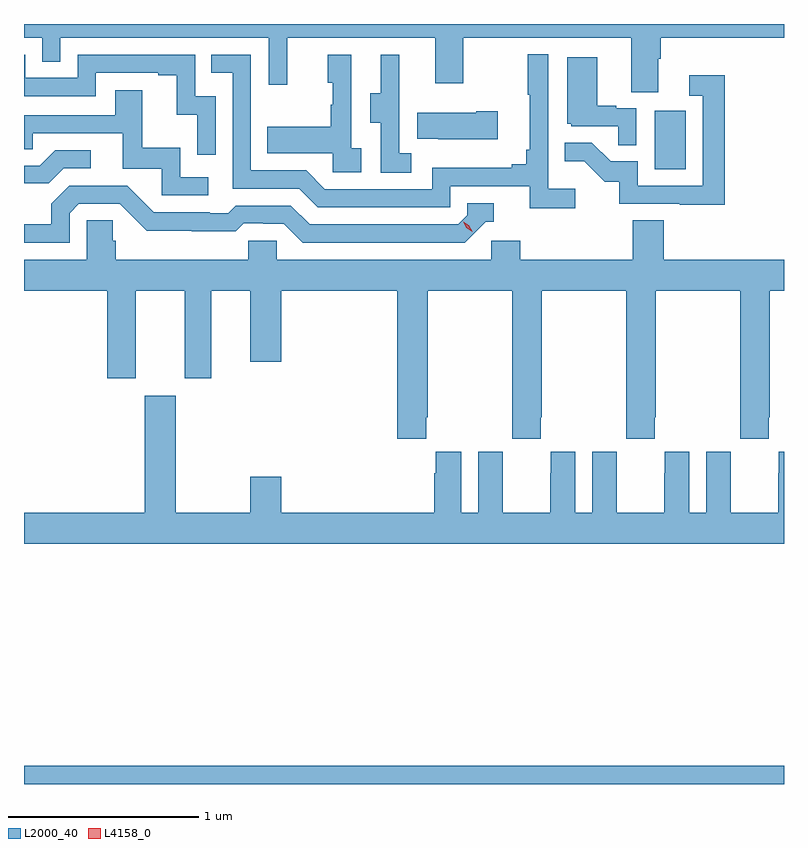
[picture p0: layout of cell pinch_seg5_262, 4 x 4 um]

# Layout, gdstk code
import gdstk
lib = gdstk.Library(unit=1e-6, precision=1e-09)
def R(c, l, rs):  # rectangles x0, y0, x1, y1
    for r in rs: c.add(gdstk.rectangle(r[:2], r[2:], *l))
def P(c, l, *ps):  # polygons
    for p in ps: c.add(gdstk.Polygon(p, *l))
L2000_40 = (2000, 40)
L4158_0 = (4158, 0)

pinch_seg5_262 = lib.new_cell('pinch_seg5_262')
R(pinch_seg5_262, L2000_40, [(895.086,911.44,899.086,911.536), (898.406,914.676,898.57,914.983)])
P(pinch_seg5_262, L2000_40, [(898.423,915.256),(898.436,915.256),(898.436,915.368),(899.086,915.368),(899.086,915.44),(895.086,915.44),(895.086,915.368),(895.182,915.368),(895.182,915.241),(895.278,915.241),(895.278,915.368),(896.373,915.368),(896.373,915.12),(896.471,915.12),(896.471,915.368),(897.251,915.368),(897.251,915.129),(897.399,915.129),(897.399,915.368),(898.283,915.368),(898.283,915.082),(898.423,915.082)],
  [(897.988,914.572),(897.846,914.572),(897.846,915.28),(897.738,915.28),(897.738,915.067),(897.749,915.067),(897.749,914.779),(897.73,914.779),(897.73,914.702),(897.653,914.702),(897.653,914.683),(897.234,914.683),(897.234,914.571),(896.67,914.571),(896.571,914.67),(896.28,914.67),(896.28,915.279),(896.071,915.279),(896.071,915.183),(896.184,915.183),(896.184,914.574),(896.534,914.574),(896.633,914.475),(897.33,914.475),(897.33,914.586),(897.749,914.586),(897.749,914.47),(897.988,914.47)],
  [(896.094,915.06),(895.986,915.06),(895.986,915.279),(895.368,915.279),(895.368,915.156),(895.092,915.156),(895.092,915.279),(895.086,915.279),(895.086,915.06),(895.464,915.06),(895.464,915.183),(895.793,915.183),(895.793,915.171),(895.889,915.171),(895.889,914.963),(895.998,914.963),(895.998,914.751),(896.094,914.751)],
  [(897.124,914.759),(897.06,914.759),(897.06,915.063),(897.062,915.063),(897.062,915.277),(896.963,915.277),(896.963,915.075),(896.909,915.075),(896.909,914.92),(896.964,914.92),(896.964,914.656),(897.124,914.656)],
  [(896.86,914.786),(896.808,914.786),(896.808,915.277),(896.684,915.277),(896.684,915.132),(896.71,915.132),(896.71,915.014),(896.7,915.014),(896.7,914.899),(896.365,914.899),(896.365,914.759),(896.712,914.759),(896.712,914.661),(896.86,914.661)],
  [(898.308,914.997),(898.202,914.997),(898.202,915.01),(898.102,915.01),(898.102,915.265),(897.944,915.265),(897.944,914.916),(897.966,914.916),(897.966,914.901),(898.213,914.901),(898.213,914.803),(898.308,914.803)],
  [(898.775,915.169),(898.587,915.169),(898.587,915.063),(898.659,915.063),(898.659,914.589),(898.317,914.589),(898.317,914.718),(898.173,914.718),(898.075,914.816),(897.931,914.816),(897.931,914.717),(898.035,914.717),(898.142,914.61),(898.219,914.61),(898.219,914.493),(898.537,914.493),(898.537,914.488),(898.775,914.488)],
  [(896.056,914.634),(895.908,914.634),(895.908,914.788),(895.709,914.788),(895.709,915.091),(895.565,915.091),(895.565,914.961),(895.086,914.961),(895.086,914.781),(895.133,914.781),(895.133,914.865),(895.607,914.865),(895.607,914.679),(895.812,914.679),(895.812,914.538),(896.056,914.538)],
  [(897.58,914.982),(897.467,914.982),(897.467,914.974),(897.157,914.974),(897.157,914.837),(897.265,914.837),(897.265,914.834),(897.58,914.834)],
  [(895.296,914.682),(895.438,914.682),(895.438,914.775),(895.25,914.775),(895.169,914.694),(895.086,914.694),(895.086,914.602),(895.216,914.602)],
  [(895.326,914.445),(895.374,914.493),(895.59,914.493),(895.732,914.351),(895.968,914.351),(895.968,914.349),(896.201,914.349),(896.243,914.391),(896.346,914.391),(896.346,914.388),(896.453,914.388),(896.552,914.289),(897.405,914.289),(897.516,914.4),(897.559,914.4),(897.559,914.496),(897.42,914.496),(897.42,914.433),(897.372,914.385),(896.589,914.385),(896.49,914.484),(896.201,914.484),(896.162,914.445),(896.063,914.445),(896.063,914.448),(895.77,914.448),(895.629,914.589),(895.323,914.589),(895.229,914.495),(895.229,914.385),(895.086,914.385),(895.086,914.289),(895.326,914.289)],
  [(897.203,913.369),(897.21,913.369),(897.21,914.036),(897.655,914.036),(897.655,913.369),(897.657,913.369),(897.657,913.257),(897.807,913.257),(897.807,913.369),(897.81,913.369),(897.81,914.036),(898.255,914.036),(898.255,913.369),(898.257,913.369),(898.257,913.257),(898.407,913.257),(898.407,913.369),(898.41,913.369),(898.41,914.036),(898.855,914.036),(898.855,913.369),(898.857,913.369),(898.857,913.257),(899.007,913.257),(899.007,913.369),(899.01,913.369),(899.01,914.036),(899.086,914.036),(899.086,914.2),(898.454,914.2),(898.454,914.408),(898.289,914.408),(898.289,914.2),(897.698,914.2),(897.698,914.298),(897.546,914.298),(897.546,914.2),(896.415,914.2),(896.415,914.298),(896.265,914.298),(896.265,914.2),(895.568,914.2),(895.568,914.298),(895.553,914.298),(895.553,914.408),(895.416,914.408),(895.416,914.2),(895.086,914.2),(895.086,914.036),(895.523,914.036),(895.523,913.575),(895.675,913.575),(895.675,914.036),(895.931,914.036),(895.931,913.575),(896.071,913.575),(896.071,914.036),(896.276,914.036),(896.276,913.662),(896.44,913.662),(896.44,914.036),(897.05,914.036),(897.05,913.257),(897.203,913.257)],
  [(899.086,913.189),(899.058,913.189),(899.058,913.076),(899.057,913.076),(899.057,912.868),(898.807,912.868),(898.807,913.076),(898.806,913.076),(898.806,913.189),(898.676,913.189),(898.676,912.868),(898.588,912.868),(898.588,913.189),(898.458,913.189),(898.458,913.076),(898.457,913.076),(898.457,912.868),(898.207,912.868),(898.207,913.076),(898.206,913.076),(898.206,913.189),(898.076,913.189),(898.076,912.868),(897.988,912.868),(897.988,913.189),(897.858,913.189),(897.858,913.076),(897.857,913.076),(897.857,912.868),(897.607,912.868),(897.607,913.076),(897.606,913.076),(897.606,913.189),(897.476,913.189),(897.476,912.868),(897.388,912.868),(897.388,913.189),(897.254,913.189),(897.254,913.076),(897.245,913.076),(897.245,912.868),(896.44,912.868),(896.44,913.057),(896.276,913.057),(896.276,912.868),(895.885,912.868),(895.885,913.483),(895.721,913.483),(895.721,912.868),(895.086,912.868),(895.086,912.704),(899.086,912.704)])
P(pinch_seg5_262, L4158_0, [(897.444,914.347),(897.413,914.367),(897.397,914.4),(897.397,914.4),(897.397,914.4),(897.428,914.38),(897.444,914.348),(897.444,914.347)])

lib.write_gds('pinch_seg5_262.gds')
